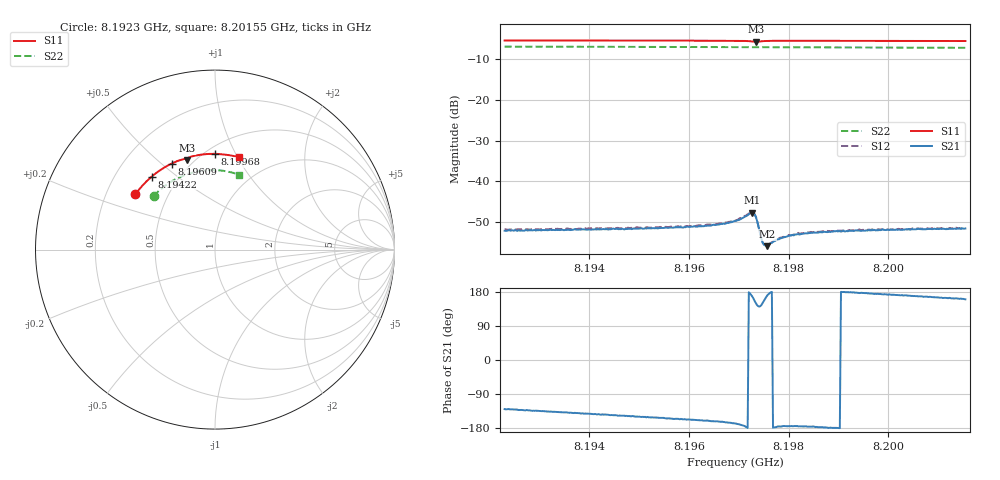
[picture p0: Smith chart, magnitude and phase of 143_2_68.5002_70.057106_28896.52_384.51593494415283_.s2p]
#  HZ  S  RI  R  50.00
! Rohde & Schwarz Vector Network Analyzer
! Rohde-Schwarz,ZNB20-2Port,1311601062101988,3.16
! Created: UTC 3/20/2024, 5:10:06 PM
! freq[Hz]  re:S11  im:S11  re:S21  im:S21  re:S12  im:S12  re:S22  im:S22
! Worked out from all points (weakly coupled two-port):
!   401 points, 8.1923 GHz to 8.20155 GHz, reference 50 ohm
!   highest |S21| = -47.73 dB at 8.19727 GHz (marker M1); lowest = -55.9 dB at 8.19757 GHz (marker M2)
!   lowest |S11| = -5.7 dB at 8.19734 GHz (marker M3), VSWR 3.17, Z = 23 + j31.4 ohm
!   |S11| at or under -10 dB: nowhere
!   |S22| runs from -7.2 to -6.9 dB; largest |S21 - S12| = 0.0002
!   S11 on the Smith chart (normalised r, x): 8.1923 GHz: 0.33, +0.28; 8.19422 GHz: 0.36, +0.41; 8.19609 GHz: 0.40, +0.54; 8.19968 GHz: 0.56, +0.83; 8.20155 GHz: 0.70, +1.01
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8.192296e9  -0.4434 0.3077  -0.00158 -0.00191  -0.0017 -0.00193  -0.3424 0.2974
8.193847e9  -0.3717 0.3898  -0.002 -0.00162  -0.00207 -0.00156  -0.2783 0.3555
8.194217e9  -0.3523 0.4072  -0.00209 -0.0015  -0.00219 -0.00152  -0.2615 0.3674
8.195397e9  -0.2848 0.4559  -0.00237 -0.00122  -0.00248 -0.00118  -0.2041 0.4001
8.196091e9  -0.2415 0.4794  -0.00259 -0.00105  -0.00264 -0.000964  -0.1682 0.4153
8.196577e9  -0.2093 0.4937  -0.00281 -0.000906  -0.00287 -0.000796  -0.1421 0.4241
8.196924e9  -0.1847 0.502  -0.00318 -0.000701  -0.00323 -0.000582  -0.1233 0.4293
8.197225e9  -0.1595 0.5034  -0.00401 0.000309  -0.00406 0.000497  -0.1067 0.4331
8.197271e9  -0.1562 0.5007  -0.00401 0.000888  -0.00405 0.00106  -0.1041 0.4335
8.197318e9  -0.1555 0.4978  -0.00357 0.00159  -0.00355 0.00177  -0.1017 0.4339
8.197341e9  -0.1563 0.4966  -0.0032 0.00181  -0.00314 0.00199  -0.1007 0.4343
8.197364e9  -0.1576 0.4966  -0.00274 0.00189  -0.00268 0.00204  -0.0992 0.4345
8.197457e9  -0.1584 0.5031  -0.0016 0.0011  -0.00159 0.00118  -0.0943 0.4356
8.19748e9  -0.1573 0.505  -0.00155 0.00087  -0.00148 0.000957  -0.093 0.4358
8.197526e9  -0.1543 0.5082  -0.00154 0.000529  -0.00156 0.000592  -0.0904 0.4364
8.197572e9  -0.1508 0.5105  -0.00157 0.000266  -0.00159 0.000343  -0.0878 0.4369
8.197804e9  -0.1332 0.5177  -0.00193 -0.000156  -0.002 -7.34e-05  -0.0749 0.439
8.197989e9  -0.1197 0.5212  -0.00211 -0.000191  -0.00217 -0.000145  -0.0645 0.4403
8.198475e9  -0.0848 0.5279  -0.00233 -0.000173  -0.00235 -6.37e-05  -0.037 0.4425
8.199678e9  0.000683 0.5335  -0.0025 0.000205  -0.00256 0.000323  0.0313 0.4409
8.200025e9  0.0253 0.5325  -0.00251 0.000296  -0.00249 0.000436  0.051 0.4383
8.201552e9  0.1314 0.5147  -0.00248 0.000894  -0.00248 0.000965  0.1352 0.417
